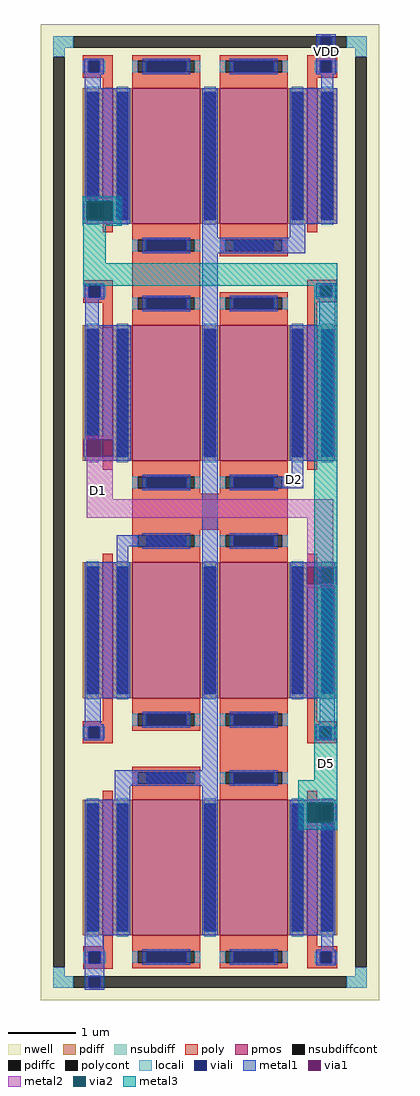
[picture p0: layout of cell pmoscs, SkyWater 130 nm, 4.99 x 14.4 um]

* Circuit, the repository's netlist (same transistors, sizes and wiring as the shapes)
** sch_path: /home/surya/opamp/mag/pmoscs.sch
.subckt pmoscs vdd D5 D1 D2
*.PININFO vdd:B D5:B D2:B D1:B
XM1 D1 D2 vdd vdd sky130_fd_pr__pfet_01v8 L=1 W=2 nf=1 m=2
XM2 D2 D2 vdd vdd sky130_fd_pr__pfet_01v8 L=1 W=2 nf=1 m=2
XM5 D5 D2 vdd vdd sky130_fd_pr__pfet_01v8 L=1 W=2 nf=1 m=2
XM3 vdd vdd vdd vdd sky130_fd_pr__pfet_01v8 L=0.15 W=2 nf=1 m=2
XM4 D1 D1 D1 vdd sky130_fd_pr__pfet_01v8 L=0.15 W=2 nf=1 m=2
XM6 D2 D2 D2 vdd sky130_fd_pr__pfet_01v8 L=0.15 W=2 nf=1 m=2
XM7 D5 D5 D5 vdd sky130_fd_pr__pfet_01v8 L=0.15 W=2 nf=1 m=2
XM8 vdd vdd vdd vdd sky130_fd_pr__pfet_01v8 L=1 W=2 nf=1 m=2
.ends
.end

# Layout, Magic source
magic
tech sky130A
magscale 1 2
<< nwell >>
rect -180 -1461 818 1419
<< nsubdiff >>
rect -144 1349 -84 1383
rect 722 1349 782 1383
rect -144 1323 -110 1349
rect 748 1323 782 1349
rect -144 -1391 -110 -1365
rect 748 -1391 782 -1365
rect -144 -1425 -84 -1391
rect 722 -1425 782 -1391
<< nsubdiffcont >>
rect -84 1349 722 1383
rect -144 -1365 -110 1323
rect 748 -1365 782 1323
rect -84 -1425 722 -1391
<< poly >>
rect -56 1311 32 1327
rect -56 1277 -40 1311
rect -6 1277 32 1311
rect -56 1261 32 1277
rect 2 1249 32 1261
rect 606 1311 694 1327
rect 606 1277 644 1311
rect 678 1277 694 1311
rect 606 1261 694 1277
rect 606 1238 636 1261
rect -55 647 32 663
rect -55 613 -39 647
rect -5 613 32 647
rect 90 627 290 733
rect 606 648 694 664
rect -55 597 32 613
rect 2 523 32 597
rect 606 614 644 648
rect 678 614 694 648
rect 606 598 694 614
rect 606 553 636 598
rect 90 -73 548 33
rect 2 -638 32 -570
rect -57 -654 32 -638
rect -57 -688 -41 -654
rect -7 -688 32 -654
rect 606 -638 636 -570
rect 606 -654 693 -638
rect -57 -704 32 -688
rect 348 -773 548 -667
rect 606 -688 643 -654
rect 677 -688 693 -654
rect 606 -704 693 -688
rect 2 -1303 32 -1270
rect -55 -1319 32 -1303
rect -55 -1353 -39 -1319
rect -5 -1353 32 -1319
rect -55 -1369 32 -1353
rect 606 -1302 636 -1296
rect 606 -1318 694 -1302
rect 606 -1352 644 -1318
rect 678 -1352 694 -1318
rect 606 -1368 694 -1352
<< polycont >>
rect -40 1277 -6 1311
rect 644 1277 678 1311
rect -39 613 -5 647
rect 644 614 678 648
rect -41 -688 -7 -654
rect 643 -688 677 -654
rect -39 -1353 -5 -1319
rect 644 -1352 678 -1318
<< locali >>
rect -144 1349 -84 1383
rect 722 1349 782 1383
rect -144 1323 -110 1349
rect 748 1323 782 1349
rect -56 1277 -40 1311
rect -6 1277 10 1311
rect 628 1277 644 1311
rect 678 1277 694 1311
rect -55 613 -39 647
rect -5 613 11 647
rect 628 614 644 648
rect 678 614 694 648
rect -57 -688 -41 -654
rect -7 -688 9 -654
rect 627 -688 643 -654
rect 677 -688 693 -654
rect -55 -1353 -39 -1319
rect -5 -1353 11 -1319
rect 628 -1352 644 -1318
rect 678 -1352 694 -1318
rect -144 -1391 -110 -1365
rect 748 -1391 782 -1365
rect -144 -1425 -84 -1391
rect 722 -1425 782 -1391
<< viali >>
rect 644 1349 678 1383
rect -40 1277 -6 1311
rect 644 1277 678 1311
rect -39 613 -5 647
rect 644 614 678 648
rect -41 -688 -7 -654
rect 643 -688 677 -654
rect -39 -1353 -5 -1319
rect 644 -1352 678 -1318
rect -39 -1425 -5 -1391
<< metal1 >>
rect 632 1383 690 1389
rect 632 1349 644 1383
rect 678 1349 690 1383
rect -52 1311 6 1317
rect -52 1277 -40 1311
rect -6 1277 6 1311
rect -52 1271 6 1277
rect 632 1311 690 1349
rect 632 1277 644 1311
rect 678 1277 690 1311
rect 632 1271 690 1277
rect -50 1230 -4 1271
rect 648 1230 682 1271
rect -50 894 84 1230
rect -54 842 -44 894
rect 32 842 84 894
rect -50 830 84 842
rect 296 789 342 1230
rect 554 830 694 1230
rect 554 789 600 830
rect 296 743 600 789
rect -51 647 7 653
rect -51 613 -39 647
rect -5 613 7 647
rect -51 607 7 613
rect -49 530 -10 607
rect -49 194 85 530
rect -54 142 -44 194
rect 32 142 85 194
rect -49 130 85 142
rect 44 -122 250 -90
rect 44 -170 78 -122
rect -50 -570 84 -170
rect -50 -648 -4 -570
rect -53 -654 5 -648
rect -53 -688 -41 -654
rect -7 -688 5 -654
rect -53 -694 5 -688
rect 296 -783 342 743
rect 632 648 690 654
rect 632 614 644 648
rect 678 614 690 648
rect 632 608 690 614
rect 642 530 689 608
rect 555 130 689 530
rect 560 83 594 130
rect 507 49 594 83
rect 554 -182 688 -170
rect 554 -234 606 -182
rect 682 -234 692 -182
rect 554 -570 688 -234
rect 643 -648 687 -570
rect 631 -654 689 -648
rect 631 -688 643 -654
rect 677 -688 689 -654
rect 631 -694 689 -688
rect 38 -829 342 -783
rect 38 -870 84 -829
rect -50 -1270 84 -870
rect 296 -1270 342 -829
rect 555 -882 689 -870
rect 555 -934 606 -882
rect 682 -934 692 -882
rect 555 -1270 689 -934
rect -50 -1313 5 -1270
rect 648 -1312 682 -1270
rect -51 -1319 7 -1313
rect -51 -1353 -39 -1319
rect -5 -1353 7 -1319
rect -51 -1391 7 -1353
rect 632 -1318 690 -1312
rect 632 -1352 644 -1318
rect 678 -1352 690 -1318
rect 632 -1358 690 -1352
rect -51 -1425 -39 -1391
rect -5 -1425 7 -1391
rect -51 -1431 7 -1425
<< via1 >>
rect -44 842 32 894
rect -44 142 32 194
rect 606 -234 682 -182
rect 606 -934 682 -882
<< metal2 >>
rect -44 896 32 906
rect -44 830 32 840
rect -44 194 32 204
rect -44 16 32 142
rect -44 -38 682 16
rect 606 -182 682 -38
rect 606 -244 682 -234
rect 606 -879 682 -869
rect 606 -947 682 -937
<< via2 >>
rect -44 894 32 896
rect -44 842 32 894
rect -44 840 32 842
rect 606 -882 682 -879
rect 606 -934 682 -882
rect 606 -937 682 -934
<< metal3 >>
rect -56 896 58 911
rect -56 840 -44 896
rect 32 840 58 896
rect -56 823 58 840
rect -55 713 12 823
rect -55 646 694 713
rect 627 -812 694 646
rect 580 -879 694 -812
rect 580 -937 606 -879
rect 682 -937 694 -879
rect 580 -958 694 -937
use sky130_fd_pr__pfet_01v8_2ZH9AN  sky130_fd_pr__pfet_01v8_2ZH9AN_0
transform 1 0 17 0 1 -370
box -109 -262 109 262
use sky130_fd_pr__pfet_01v8_2ZH9AN  sky130_fd_pr__pfet_01v8_2ZH9AN_1
transform 1 0 17 0 1 -1070
box -109 -262 109 262
use sky130_fd_pr__pfet_01v8_2ZH9AN  sky130_fd_pr__pfet_01v8_2ZH9AN_2
transform 1 0 621 0 1 -1070
box -109 -262 109 262
use sky130_fd_pr__pfet_01v8_2ZH9AN  sky130_fd_pr__pfet_01v8_2ZH9AN_3
transform 1 0 17 0 1 1030
box -109 -262 109 262
use sky130_fd_pr__pfet_01v8_2ZH9AN  sky130_fd_pr__pfet_01v8_2ZH9AN_4
transform 1 0 621 0 1 -370
box -109 -262 109 262
use sky130_fd_pr__pfet_01v8_2ZH9AN  sky130_fd_pr__pfet_01v8_2ZH9AN_5
transform 1 0 621 0 1 330
box -109 -262 109 262
use sky130_fd_pr__pfet_01v8_2ZH9AN  sky130_fd_pr__pfet_01v8_2ZH9AN_6
transform 1 0 17 0 1 330
box -109 -262 109 262
use sky130_fd_pr__pfet_01v8_2ZH9AN  sky130_fd_pr__pfet_01v8_2ZH9AN_7
transform 1 0 621 0 1 1030
box -109 -262 109 262
use sky130_fd_pr__pfet_01v8_SDE6B7  sky130_fd_pr__pfet_01v8_SDE6B7_0
transform 1 0 319 0 1 330
box -323 -300 323 300
use sky130_fd_pr__pfet_01v8_SDE6B7  sky130_fd_pr__pfet_01v8_SDE6B7_1
transform 1 0 319 0 1 -370
box -323 -300 323 300
use sky130_fd_pr__pfet_01v8_SDE6B7  sky130_fd_pr__pfet_01v8_SDE6B7_2
transform 1 0 319 0 1 1030
box -323 -300 323 300
use sky130_fd_pr__pfet_01v8_SDE6B7  sky130_fd_pr__pfet_01v8_SDE6B7_3
transform 1 0 319 0 1 -1070
box -323 -300 323 300
<< labels >>
flabel metal1 662 1338 662 1338 0 FreeSans 1600 0 0 0 VDD
port 0 nsew
flabel metal2 -10 42 -10 42 0 FreeSans 1600 0 0 0 D1
port 1 nsew
flabel metal1 568 74 568 74 0 FreeSans 1600 0 0 0 D2
port 2 nsew
flabel metal3 664 -762 664 -762 0 FreeSans 1600 0 0 0 D5
port 3 nsew
<< end >>

# cell sky130_fd_pr__pfet_01v8_2ZH9AN: kit device sky130_fd_pr__pfet_01v8, w 2 l 0.15 m 1 nf 1 diffcov 100 polycov 100 guard 0 glc 1 grc 1 gtc 1 gbc 1 tbcov 100 rlcov 100 topc 0 botc 0 poverlap 0 doverlap 1 lmin 0.15 wmin 0.42 compatible {sky130_fd_pr__pfet_01v8 sky130_fd_pr__pfet_01v8_lvt sky130_fd_pr__pfet_01v8_hvt sky130_fd_pr__pfet_g5v0d10v5} full_metal 1 viasrc 100 viadrn 100 viagate 100 viagb 0 viagr 0 viagl 0 viagt 0

# cell sky130_fd_pr__pfet_01v8_SDE6B7: kit device sky130_fd_pr__pfet_01v8, w 2 l 1 m 1 nf 2 diffcov 100 polycov 100 guard 0 glc 1 grc 1 gtc 1 gbc 1 tbcov 100 rlcov 100 topc 1 botc 1 poverlap 0 doverlap 1 lmin 0.15 wmin 0.42 compatible {sky130_fd_pr__pfet_01v8 sky130_fd_pr__pfet_01v8_lvt sky130_fd_pr__pfet_01v8_hvt sky130_fd_pr__pfet_g5v0d10v5} full_metal 1 viasrc 100 viadrn 100 viagate 70 viagb 0 viagr 0 viagl 0 viagt 0
